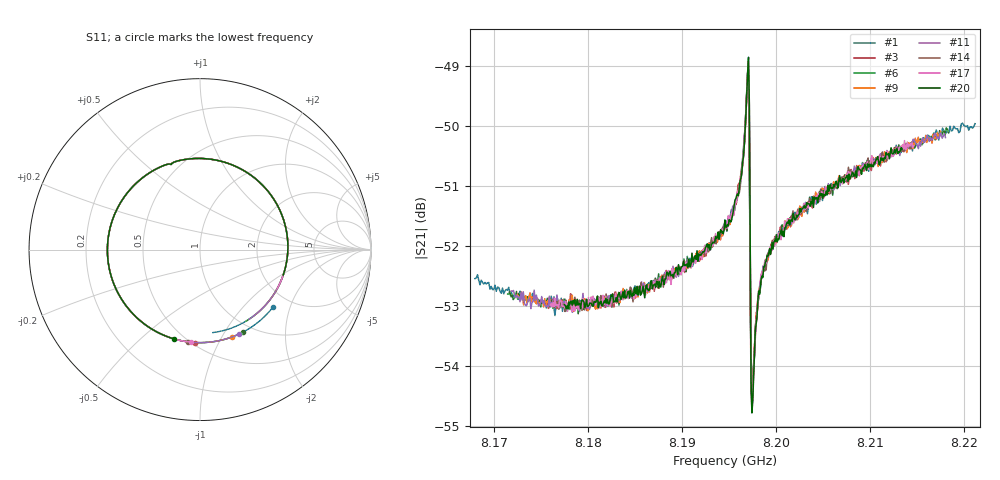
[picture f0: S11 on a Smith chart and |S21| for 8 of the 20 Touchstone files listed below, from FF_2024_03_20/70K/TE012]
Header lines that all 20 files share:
#  HZ  S  RI  R  50.00
! Rohde & Schwarz Vector Network Analyzer
! Rohde-Schwarz,ZNB20-2Port,1311601062101988,3.16
! freq[Hz]  re:S11  im:S11  re:S21  im:S21  re:S12  im:S12  re:S22  im:S22
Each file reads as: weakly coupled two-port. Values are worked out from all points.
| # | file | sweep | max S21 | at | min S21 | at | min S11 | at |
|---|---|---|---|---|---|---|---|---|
| 1 | 40_2_68.5_70.0406494_56200.484_110.96886682510376_.s2p | 8.16802 GHz to 8.22113 GHz | -49.12 dB | 8.19697 GHz | -54.5 dB | 8.19737 GHz | -6.2 dB | 8.22113 GHz |
| 2 | 41_2_68.4997_70.0419464_55960.793_113.5038652420044_.s2p | 8.17173 GHz to 8.2181 GHz | -49.02 dB | 8.197 GHz | -54.6 dB | 8.19747 GHz | -6.1 dB | 8.2181 GHz |
| 3 | 42_2_68.5003_70.0431442_55701.469_115.95214605331421_.s2p | 8.17573 GHz to 8.21481 GHz | -49.09 dB | 8.19703 GHz | -54.7 dB | 8.19742 GHz | -5.9 dB | 8.21481 GHz |
| 4 | 43_2_68.4999_70.0418396_55471.809_118.35272121429443_.s2p | 8.1731 GHz to 8.21699 GHz | -49.07 dB | 8.19702 GHz | -54.6 dB | 8.19746 GHz | -6.0 dB | 8.21699 GHz |
| 5 | 44_2_68.5_70.0440063_55232.219_120.76543307304382_.s2p | 8.17154 GHz to 8.21825 GHz | -49.05 dB | 8.197 GHz | -54.5 dB | 8.19747 GHz | -6.1 dB | 8.21825 GHz |
| 6 | 45_2_68.4995_70.0430298_54981.199_123.23273491859436_.s2p | 8.17149 GHz to 8.21831 GHz | -49.08 dB | 8.19701 GHz | -54.5 dB | 8.19748 GHz | -6.1 dB | 8.21831 GHz |
| 7 | 46_2_68.5007_70.0402374_54752.125_125.64247679710388_.s2p | 8.17285 GHz to 8.21719 GHz | -49.05 dB | 8.19701 GHz | -54.5 dB | 8.19746 GHz | -6.0 dB | 8.21719 GHz |
| 8 | 47_2_68.5003_70.0434265_54502.789_128.08795142173767_.s2p | 8.17146 GHz to 8.21832 GHz | -49.04 dB | 8.197 GHz | -54.6 dB | 8.19747 GHz | -6.1 dB | 8.21832 GHz |
| 9 | 48_2_68.4999_70.0423431_54253.09_130.47450399398804_.s2p | 8.17251 GHz to 8.21748 GHz | -49.02 dB | 8.19702 GHz | -54.6 dB | 8.19747 GHz | -6.0 dB | 8.21748 GHz |
| 10 | 49_2_68.4997_70.0467911_54023.152_132.944180727005_.s2p | 8.17273 GHz to 8.2173 GHz | -49.05 dB | 8.19702 GHz | -54.6 dB | 8.19747 GHz | -6.0 dB | 8.2173 GHz |
| 11 | 50_2_68.4999_70.0444031_53753.457_135.35502672195435_.s2p | 8.17188 GHz to 8.218 GHz | -49.01 dB | 8.19702 GHz | -54.5 dB | 8.19748 GHz | -6.1 dB | 8.218 GHz |
| 12 | 51_2_68.4999_70.047226_53533.59_137.80224132537842_.s2p | 8.17514 GHz to 8.21533 GHz | -48.95 dB | 8.19704 GHz | -54.7 dB | 8.19744 GHz | -5.9 dB | 8.21533 GHz |
| 13 | 52_2_68.5006_70.0415878_53294.371_140.23991131782532_.s2p | 8.17638 GHz to 8.21431 GHz | -48.93 dB | 8.19705 GHz | -54.6 dB | 8.19743 GHz | -5.9 dB | 8.21431 GHz |
| 14 | 53_2_68.5005_70.0419159_53054.918_142.6640603542328_.s2p | 8.17635 GHz to 8.21434 GHz | -48.93 dB | 8.19705 GHz | -54.8 dB | 8.19743 GHz | -5.9 dB | 8.21434 GHz |
| 15 | 54_2_68.4997_70.0420151_52784.914_145.0780599117279_.s2p | 8.17758 GHz to 8.21333 GHz | -48.96 dB | 8.19707 GHz | -54.8 dB | 8.19742 GHz | -5.9 dB | 8.21333 GHz |
| 16 | 55_2_68.5001_70.0453796_52575.383_147.51509594917297_.s2p | 8.17613 GHz to 8.21453 GHz | -48.95 dB | 8.19706 GHz | -54.8 dB | 8.19744 GHz | -5.9 dB | 8.21453 GHz |
| 17 | 56_2_68.4997_70.0475464_52326.023_149.9123227596283_.s2p | 8.17602 GHz to 8.21461 GHz | -48.94 dB | 8.19705 GHz | -54.7 dB | 8.19744 GHz | -5.9 dB | 8.21461 GHz |
| 18 | 57_2_68.4998_70.0467911_52085.926_152.34283328056335_.s2p | 8.17569 GHz to 8.2149 GHz | -48.92 dB | 8.19706 GHz | -54.8 dB | 8.19745 GHz | -5.9 dB | 8.2149 GHz |
| 19 | 58_2_68.4994_70.0454865_51816.605_154.74102067947388_.s2p | 8.177 GHz to 8.21382 GHz | -48.89 dB | 8.19707 GHz | -54.8 dB | 8.19743 GHz | -5.9 dB | 8.21382 GHz |
| 20 | 59_2_68.5_70.0406113_51566.926_157.21086430549622_.s2p | 8.17754 GHz to 8.21339 GHz | -48.86 dB | 8.19707 GHz | -54.8 dB | 8.19743 GHz | -5.9 dB | 8.21339 GHz |
